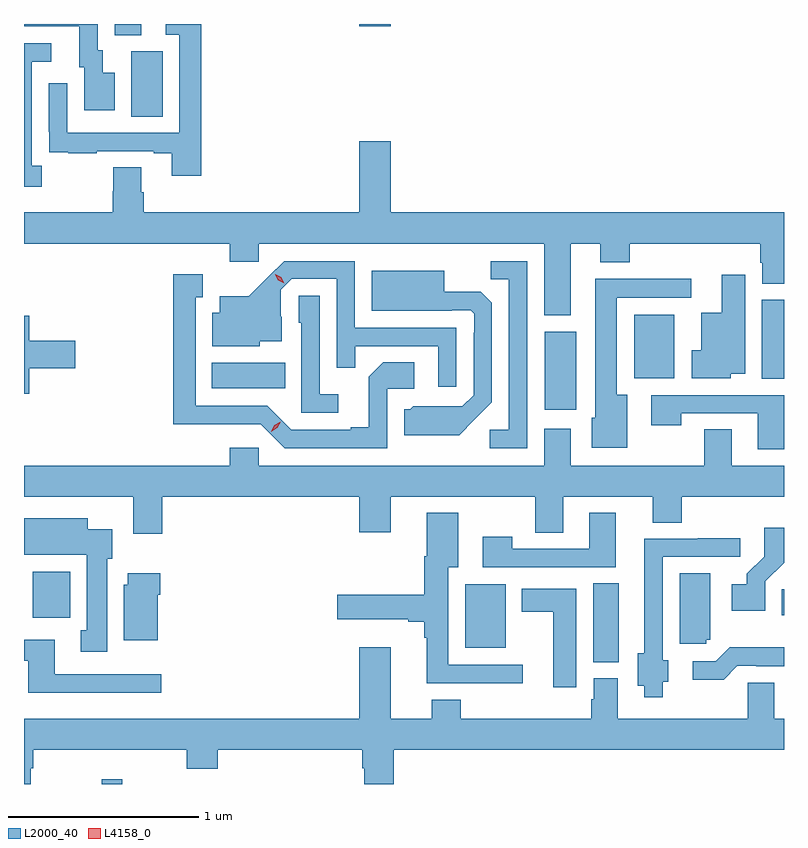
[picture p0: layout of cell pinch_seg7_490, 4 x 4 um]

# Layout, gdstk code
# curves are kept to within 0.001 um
import gdstk
lib = gdstk.Library(unit=1e-6, precision=1e-09)
def R(c, l, rs):  # rectangles x0, y0, x1, y1
    for r in rs: c.add(gdstk.rectangle(r[:2], r[2:], *l))
def P(c, l, *ps):  # polygons
    for p in ps: c.add(gdstk.Polygon(p, *l))
L2000_40 = (2000, 40)
L4158_0 = (4158, 0)

pinch_seg7_490 = lib.new_cell('pinch_seg7_490')
R(pinch_seg7_490, L2000_40, [(115.701,1060.376,115.809,1060.402), (118.286,1061.017,118.42,1061.432), (117.614,1061.093,117.826,1061.428), (115.337,1061.252,115.534,1061.494), (119.278,1061.264,119.291,1061.402), (118.031,1062.345,118.198,1062.757), (116.279,1062.458,116.666,1062.592), (119.174,1062.508,119.291,1062.924), (118.502,1062.512,118.714,1062.847), (115.856,1063.888,116.02,1064.232), (115.769,1064.317,115.909,1064.376), (117.056,1064.364,117.22,1064.376)])
P(pinch_seg7_490, L2000_40, [(116.225,1064.376),(116.037,1064.376),(116.037,1064.319),(116.109,1064.319),(116.109,1063.803),(115.518,1063.803),(115.518,1064.065),(115.422,1064.065),(115.422,1063.81),(115.423,1063.81),(115.423,1063.701),(115.525,1063.701),(115.525,1063.695),(115.673,1063.695),(115.673,1063.707),(115.973,1063.707),(115.973,1063.695),(116.069,1063.695),(116.069,1063.578),(116.225,1063.578)],
  [(115.768,1064.119),(115.705,1064.119),(115.705,1064.238),(115.68,1064.238),(115.68,1064.376),(115.291,1064.376),(115.291,1064.364),(115.583,1064.364),(115.583,1064.148),(115.607,1064.148),(115.607,1063.923),(115.768,1063.923)],
  [(115.384,1063.63),(115.332,1063.63),(115.332,1064.178),(115.435,1064.178),(115.435,1064.274),(115.291,1064.274),(115.291,1063.52),(115.384,1063.52)],
  [(118.168,1063.22),(118.325,1063.22),(118.325,1063.121),(118.478,1063.121),(118.478,1063.22),(119.165,1063.22),(119.165,1063.119),(119.177,1063.119),(119.177,1063.009),(119.291,1063.009),(119.291,1063.384),(117.22,1063.384),(117.22,1063.759),(117.056,1063.759),(117.056,1063.384),(115.922,1063.384),(115.922,1063.49),(115.909,1063.49),(115.909,1063.622),(115.762,1063.622),(115.762,1063.497),(115.757,1063.497),(115.757,1063.384),(115.291,1063.384),(115.291,1063.22),(116.375,1063.22),(116.375,1063.125),(116.526,1063.125),(116.526,1063.22),(118.028,1063.22),(118.028,1062.842),(118.168,1062.842)],
  [(117.567,1062.777),(117.033,1062.777),(117.033,1063.128),(116.66,1063.128),(116.473,1062.943),(116.321,1062.943),(116.321,1062.856),(116.282,1062.856),(116.282,1062.68),(116.532,1062.68),(116.532,1062.707),(116.647,1062.707),(116.647,1062.836),(116.643,1062.836),(116.643,1062.978),(116.7,1063.035),(116.937,1063.035),(116.937,1062.568),(117.035,1062.568),(117.035,1062.681),(117.471,1062.681),(117.471,1062.468),(117.567,1062.468)],
  [(117.939,1063.128),(117.748,1063.128),(117.748,1063.033),(117.843,1063.033),(117.843,1062.24),(117.741,1062.24),(117.741,1062.144),(117.939,1062.144)],
  [(117.661,1062.293),(117.753,1062.386),(117.753,1062.908),(117.694,1062.967),(117.502,1062.967),(117.502,1063.078),(117.122,1063.078),(117.122,1062.866),(117.542,1062.866),(117.542,1062.87),(117.642,1062.87),(117.66,1062.852),(117.66,1062.752),(117.657,1062.752),(117.657,1062.423),(117.597,1062.363),(117.34,1062.364),(117.324,1062.348),(117.293,1062.348),(117.293,1062.212),(117.581,1062.212)],
  [(117.204,1062.456),(117.346,1062.456),(117.346,1062.596),(117.181,1062.596),(117.105,1062.52),(117.105,1062.253),(117.011,1062.253),(117.011,1062.24),(116.697,1062.24),(116.571,1062.366),(116.194,1062.366),(116.194,1062.939),(116.233,1062.939),(116.233,1063.06),(116.076,1063.06),(116.076,1062.269),(116.538,1062.27),(116.664,1062.144),(117.204,1062.144)],
  [(119.01,1062.536),(119.086,1062.536),(119.086,1063.057),(118.964,1063.057),(118.964,1062.856),(118.856,1062.856),(118.856,1062.658),(118.805,1062.658),(118.805,1062.512),(119.01,1062.512)],
  [(118.465,1062.424),(118.411,1062.424),(118.411,1062.936),(118.804,1062.936),(118.804,1063.034),(118.298,1063.034),(118.298,1062.303),(118.28,1062.303),(118.28,1062.146),(118.465,1062.146)],
  [(116.944,1062.427),(116.847,1062.427),(116.847,1062.947),(116.736,1062.947),(116.736,1062.804),(116.751,1062.804),(116.751,1062.33),(116.944,1062.33)],
  [(115.318,1062.563),(115.561,1062.563),(115.561,1062.71),(115.318,1062.71),(115.318,1062.841),(115.291,1062.841),(115.291,1062.431),(115.318,1062.431)],
  [(119.291,1062.423),(118.593,1062.423),(118.593,1062.264),(118.749,1062.264),(118.749,1062.327),(119.153,1062.327),(119.153,1062.138),(119.291,1062.138)],
  [(116.018,1061.888),(117.056,1061.888),(117.056,1061.7),(117.22,1061.7),(117.22,1061.888),(117.982,1061.888),(117.982,1061.698),(118.129,1061.698),(118.129,1061.888),(118.601,1061.888),(118.601,1061.752),(118.754,1061.752),(118.754,1061.888),(119.291,1061.888),(119.291,1062.052),(119.017,1062.052),(119.017,1062.242),(118.87,1062.242),(118.87,1062.052),(118.168,1062.052),(118.168,1062.247),(118.028,1062.247),(118.028,1062.052),(116.526,1062.052),(116.526,1062.145),(116.375,1062.145),(116.375,1062.052),(115.291,1062.052),(115.291,1061.888),(115.865,1061.888),(115.865,1061.694),(116.018,1061.694)],
  [(117.916,1061.004),(117.523,1061.004),(117.523,1061.516),(117.577,1061.516),(117.577,1061.803),(117.41,1061.803),(117.41,1061.576),(117.398,1061.576),(117.398,1061.373),(116.94,1061.373),(116.94,1061.243),(117.314,1061.243),(117.314,1061.231),(117.398,1061.231),(117.398,1061.147),(117.41,1061.147),(117.41,1060.907),(117.916,1060.907)],
  [(118.405,1061.803),(118.265,1061.803),(118.265,1061.613),(117.861,1061.613),(117.861,1061.677),(117.705,1061.677),(117.705,1061.517),(118.405,1061.517)],
  [(115.729,1061.562),(115.756,1061.562),(115.756,1061.716),(115.627,1061.716),(115.627,1061.776),(115.291,1061.776),(115.291,1061.582),(115.622,1061.582),(115.622,1061.186),(115.589,1061.186),(115.589,1061.073),(115.729,1061.073)],
  [(119.193,1061.443),(119.291,1061.541),(119.291,1061.725),(119.187,1061.725),(119.187,1061.573),(119.096,1061.483),(119.096,1061.428),(119.016,1061.428),(119.016,1061.288),(119.193,1061.288)],
  [(118.654,1060.914),(118.681,1060.914),(118.681,1061.028),(118.653,1061.028),(118.653,1061.571),(119.062,1061.571),(119.062,1061.67),(118.837,1061.67),(118.837,1061.667),(118.556,1061.667),(118.556,1061.063),(118.52,1061.063),(118.52,1060.892),(118.556,1060.892),(118.556,1060.832),(118.654,1060.832)],
  [(118.881,1061.136),(118.903,1061.136),(118.903,1061.485),(118.742,1061.485),(118.742,1061.115),(118.881,1061.115)],
  [(115.996,1061.372),(116.009,1061.372),(116.009,1061.485),(115.838,1061.485),(115.838,1061.424),(115.817,1061.424),(115.817,1061.132),(115.996,1061.132)],
  [(118.198,1061.404),(117.911,1061.404),(117.911,1061.282),(118.076,1061.282),(118.076,1060.884),(118.198,1060.884)],
  [(116.014,1060.953),(115.453,1060.953),(115.453,1061.134),(115.291,1061.134),(115.291,1061.025),(115.313,1061.025),(115.313,1060.856),(116.014,1060.856)],
  [(115.327,1060.458),(115.34,1060.458),(115.34,1060.556),(116.147,1060.556),(116.147,1060.457),(116.312,1060.457),(116.312,1060.556),(117.071,1060.556),(117.071,1060.46),(117.083,1060.46),(117.083,1060.376),(117.236,1060.376),(117.236,1060.556),(119.291,1060.556),(119.291,1060.72),(119.239,1060.72),(119.239,1060.91),(119.1,1060.91),(119.1,1060.72),(118.417,1060.72),(118.417,1060.932),(118.289,1060.932),(118.289,1060.821),(118.277,1060.821),(118.277,1060.72),(117.59,1060.72),(117.59,1060.819),(117.437,1060.819),(117.437,1060.72),(117.22,1060.72),(117.22,1061.095),(117.056,1061.095),(117.056,1060.72),(115.291,1060.72),(115.291,1060.376),(115.327,1060.376)],
  [(119.046,1060.998),(119.146,1060.998),(119.146,1060.995),(119.291,1060.995),(119.291,1061.095),(119.005,1061.095),(118.932,1061.022),(118.812,1061.022),(118.812,1060.925),(118.973,1060.925)])
P(pinch_seg7_490, L4158_0, [(116.592,1062.23),(116.592,1062.231),(116.609,1062.263),(116.641,1062.282),(116.641,1062.282),(116.641,1062.282),(116.624,1062.25),(116.592,1062.23)],
  [(116.661,1063.012),(116.63,1063.028),(116.613,1063.057),(116.613,1063.058),(116.613,1063.058),(116.644,1063.042),(116.661,1063.012),(116.661,1063.012)])

lib.write_gds('pinch_seg7_490.gds')
